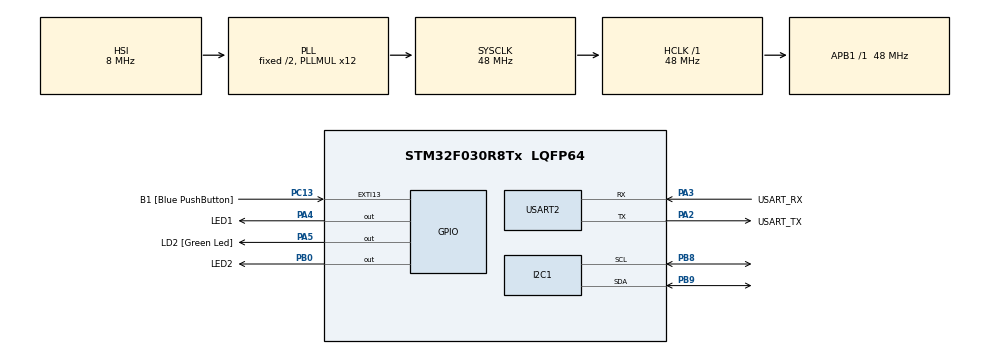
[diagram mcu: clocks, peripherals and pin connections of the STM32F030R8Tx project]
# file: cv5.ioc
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Dma.Request0=USART2_RX
Dma.USART2_RX.0.Direction=DMA_PERIPH_TO_MEMORY
Dma.USART2_RX.0.Instance=DMA1_Channel5
Dma.USART2_RX.0.MemDataAlignment=DMA_MDATAALIGN_BYTE
Dma.USART2_RX.0.MemInc=DMA_MINC_ENABLE
Dma.USART2_RX.0.Mode=DMA_CIRCULAR
Dma.USART2_RX.0.PeriphDataAlignment=DMA_PDATAALIGN_BYTE
Dma.USART2_RX.0.PeriphInc=DMA_PINC_DISABLE
Dma.USART2_RX.0.Priority=DMA_PRIORITY_LOW
I2C1.Timing=0x00201D2B
Mcu.Family=STM32F0
Mcu.Name=STM32F030R8Tx
Mcu.Package=LQFP64
NVIC.DMA1_Channel4_5_IRQn=true\:0\:0\:false\:false\:true\:false\:true\:true
PA13.GPIO_Label=TMS
PA13.Mode=Serial_Wire
PA13.Signal=SYS_SWDIO
PA14.GPIO_Label=TCK
PA14.Mode=Serial_Wire
PA14.Signal=SYS_SWCLK
PA2.GPIO_Label=USART_TX
PA2.GPIO_Mode=GPIO_MODE_AF_PP
PA2.GPIO_PuPd=GPIO_NOPULL
PA2.GPIO_Speed=GPIO_SPEED_FREQ_LOW
PA2.Mode=Asynchronous
PA2.Signal=USART2_TX
PA3.GPIO_Label=USART_RX
PA3.GPIO_Mode=GPIO_MODE_AF_PP
PA3.GPIO_PuPd=GPIO_NOPULL
PA3.GPIO_Speed=GPIO_SPEED_FREQ_LOW
PA3.Mode=Asynchronous
PA3.Signal=USART2_RX
PA4.GPIO_Label=LED1
PA4.Signal=GPIO_Output
PA5.GPIO_Label=LD2 [Green Led]
PA5.GPIO_Mode=GPIO_MODE_OUTPUT_PP
PA5.GPIO_PuPd=GPIO_NOPULL
PA5.GPIO_Speed=GPIO_SPEED_FREQ_LOW
PA5.Signal=GPIO_Output
PB0.GPIO_Label=LED2
PB0.Signal=GPIO_Output
PB8.Mode=I2C
PB8.Signal=I2C1_SCL
PB9.Mode=I2C
PB9.Signal=I2C1_SDA
PC13.GPIO_Label=B1 [Blue PushButton]
PC13.GPIO_ModeDefaultEXTI=GPIO_MODE_IT_FALLING
PC13.Signal=GPXTI13
PC14-OSC32_IN.Mode=LSE-External-Oscillator
PC14-OSC32_IN.Signal=RCC_OSC32_IN
PC15-OSC32_OUT.Mode=LSE-External-Oscillator
PC15-OSC32_OUT.Signal=RCC_OSC32_OUT
PF0-OSC_IN.Mode=HSE-External-Clock-Source
PF0-OSC_IN.Signal=RCC_OSC_IN
PF1-OSC_OUT.Signal=RCC_OSC_OUT
ProjectManager.HeapSize=0x200
ProjectManager.StackSize=0x400
ProjectManager.TargetToolchain=STM32CubeIDE
RCC.AHBFreq_Value=48000000
RCC.APB1Freq_Value=48000000
RCC.APB1TimFreq_Value=48000000
RCC.HCLKFreq_Value=48000000
RCC.PLLMUL=RCC_PLL_MUL12
RCC.SYSCLKFreq_VALUE=48000000
RCC.SYSCLKSource=RCC_SYSCLKSOURCE_PLLCLK
USART2.VirtualMode-Asynchronous=VM_ASYNC
board=NUCLEO-F030R8

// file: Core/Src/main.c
/* USER CODE BEGIN Header */
/**
  ******************************************************************************
  * @file           : main.c
  * @brief          : Main program body
  ******************************************************************************
  * @attention
  *
  * Copyright (c) 2024 STMicroelectronics.
  * All rights reserved.
  *
  * This software is licensed under terms that can be found in the LICENSE file
  * in the root directory of this software component.
  * If no LICENSE file comes with this software, it is provided AS-IS.
  *
  ******************************************************************************
  */
/* USER CODE END Header */
#include "main.h"

/* USER CODE BEGIN Includes */
#include <stdio.h>
#include <string.h>
/* USER CODE END Includes */

/* USER CODE BEGIN PD */
#define	RX_BUFFER_LEN	64
#define CMD_BUFFER_LEN 256
#define uart_rx_write_ptr (RX_BUFFER_LEN - hdma_usart2_rx.Instance->CNDTR)
/* USER CODE END PD */

I2C_HandleTypeDef hi2c1;

UART_HandleTypeDef huart2;
DMA_HandleTypeDef hdma_usart2_rx;

/* USER CODE BEGIN PV */
static uint8_t uart_rx_buf[RX_BUFFER_LEN];
static volatile uint16_t uart_rx_read_ptr = 0;
/* USER CODE END PV */

void SystemClock_Config(void);
static void MX_GPIO_Init(void);
static void MX_DMA_Init(void);
static void MX_USART2_UART_Init(void);
static void MX_I2C1_Init(void);
/* USER CODE BEGIN PFP */
static void uart_byte_available(uint8_t c);
static void uart_process_command(char *CMD);
static void HELLO();
static void LED1(uint8_t param);
static void LED2(uint8_t param);
static void STATUS();
/* USER CODE END PFP */

/* USER CODE BEGIN 0 */
int _write(int file, char const *buf, int n)
{
	/* stdout redirection to UART2 */
	HAL_UART_Transmit(&huart2, (uint8_t*)(buf), n, HAL_MAX_DELAY);
	return n;
}
/* USER CODE END 0 */

int main(void)
{

  /* MCU Configuration--------------------------------------------------------*/

  /* Reset of all peripherals, Initializes the Flash interface and the Systick. */
  HAL_Init();

  /* Configure the system clock */
  SystemClock_Config();

  /* Initialize all configured peripherals */
  MX_GPIO_Init();
  MX_DMA_Init();
  MX_USART2_UART_Init();
  MX_I2C1_Init();
  /* USER CODE BEGIN 2 */
  HAL_UART_Receive_DMA(&huart2, uart_rx_buf, RX_BUFFER_LEN);
  /* USER CODE END 2 */

  /* Infinite loop */
  /* USER CODE BEGIN WHILE */
  while (1)
  {
	//uint8_t c;
	//HAL_UART_Receive(&huart2, &c, 1, HAL_MAX_DELAY);
	//HAL_UART_Transmit(&huart2, &c, 1, HAL_MAX_DELAY);

	while (uart_rx_read_ptr != uart_rx_write_ptr) {
		uint8_t b = uart_rx_buf[uart_rx_read_ptr];
	// increase read pointer
		if (++uart_rx_read_ptr >= RX_BUFFER_LEN) uart_rx_read_ptr = 0;
	// process every received byte with the RX state machine
		uart_byte_available(b);
	}
    /* USER CODE END WHILE */

  }
}

void SystemClock_Config(void)
{
  RCC_OscInitTypeDef RCC_OscInitStruct = {0};
  RCC_ClkInitTypeDef RCC_ClkInitStruct = {0};
  RCC_PeriphCLKInitTypeDef PeriphClkInit = {0};

  /** Initializes the RCC Oscillators according to the specified parameters
  * in the RCC_OscInitTypeDef structure.
  */
  RCC_OscInitStruct.OscillatorType = RCC_OSCILLATORTYPE_HSI;
  RCC_OscInitStruct.HSIState = RCC_HSI_ON;
  RCC_OscInitStruct.HSICalibrationValue = RCC_HSICALIBRATION_DEFAULT;
  RCC_OscInitStruct.PLL.PLLState = RCC_PLL_ON;
  RCC_OscInitStruct.PLL.PLLSource = RCC_PLLSOURCE_HSI;
  RCC_OscInitStruct.PLL.PLLMUL = RCC_PLL_MUL12;
  RCC_OscInitStruct.PLL.PREDIV = RCC_PREDIV_DIV1;
  if (HAL_RCC_OscConfig(&RCC_OscInitStruct) != HAL_OK)
  {
    Error_Handler();
  }

  /** Initializes the CPU, AHB and APB buses clocks
  */
  RCC_ClkInitStruct.ClockType = RCC_CLOCKTYPE_HCLK|RCC_CLOCKTYPE_SYSCLK
                              |RCC_CLOCKTYPE_PCLK1;
  RCC_ClkInitStruct.SYSCLKSource = RCC_SYSCLKSOURCE_PLLCLK;
  RCC_ClkInitStruct.AHBCLKDivider = RCC_SYSCLK_DIV1;
  RCC_ClkInitStruct.APB1CLKDivider = RCC_HCLK_DIV1;

  if (HAL_RCC_ClockConfig(&RCC_ClkInitStruct, FLASH_LATENCY_1) != HAL_OK)
  {
    Error_Handler();
  }
  PeriphClkInit.PeriphClockSelection = RCC_PERIPHCLK_I2C1;
  PeriphClkInit.I2c1ClockSelection = RCC_I2C1CLKSOURCE_HSI;
  if (HAL_RCCEx_PeriphCLKConfig(&PeriphClkInit) != HAL_OK)
  {
    Error_Handler();
  }
}

static void MX_I2C1_Init(void)
{

  hi2c1.Instance = I2C1;
  hi2c1.Init.Timing = 0x00201D2B;
  hi2c1.Init.OwnAddress1 = 0;
  hi2c1.Init.AddressingMode = I2C_ADDRESSINGMODE_7BIT;
  hi2c1.Init.DualAddressMode = I2C_DUALADDRESS_DISABLE;
  hi2c1.Init.OwnAddress2 = 0;
  hi2c1.Init.OwnAddress2Masks = I2C_OA2_NOMASK;
  hi2c1.Init.GeneralCallMode = I2C_GENERALCALL_DISABLE;
  hi2c1.Init.NoStretchMode = I2C_NOSTRETCH_DISABLE;
  if (HAL_I2C_Init(&hi2c1) != HAL_OK)
  {
    Error_Handler();
  }

  /** Configure Analogue filter
  */
  if (HAL_I2CEx_ConfigAnalogFilter(&hi2c1, I2C_ANALOGFILTER_ENABLE) != HAL_OK)
  {
    Error_Handler();
  }

  /** Configure Digital filter
  */
  if (HAL_I2CEx_ConfigDigitalFilter(&hi2c1, 0) != HAL_OK)
  {
    Error_Handler();
  }

}

static void MX_USART2_UART_Init(void)
{

  huart2.Instance = USART2;
  huart2.Init.BaudRate = 38400;
  huart2.Init.WordLength = UART_WORDLENGTH_8B;
  huart2.Init.StopBits = UART_STOPBITS_1;
  huart2.Init.Parity = UART_PARITY_NONE;
  huart2.Init.Mode = UART_MODE_TX_RX;
  huart2.Init.HwFlowCtl = UART_HWCONTROL_NONE;
  huart2.Init.OverSampling = UART_OVERSAMPLING_16;
  huart2.Init.OneBitSampling = UART_ONE_BIT_SAMPLE_DISABLE;
  huart2.AdvancedInit.AdvFeatureInit = UART_ADVFEATURE_NO_INIT;
  if (HAL_UART_Init(&huart2) != HAL_OK)
  {
    Error_Handler();
  }

}

static void MX_DMA_Init(void)
{

  /* DMA controller clock enable */
  __HAL_RCC_DMA1_CLK_ENABLE();

  /* DMA interrupt init */
  /* DMA1_Channel4_5_IRQn interrupt configuration */
  HAL_NVIC_SetPriority(DMA1_Channel4_5_IRQn, 0, 0);
  HAL_NVIC_EnableIRQ(DMA1_Channel4_5_IRQn);

}

static void MX_GPIO_Init(void)
{
  GPIO_InitTypeDef GPIO_InitStruct = {0};

  /* GPIO Ports Clock Enable */
  __HAL_RCC_GPIOC_CLK_ENABLE();
  __HAL_RCC_GPIOF_CLK_ENABLE();
  __HAL_RCC_GPIOA_CLK_ENABLE();
  __HAL_RCC_GPIOB_CLK_ENABLE();

  /*Configure GPIO pin Output Level */
  HAL_GPIO_WritePin(GPIOA, LED1_Pin|LD2_Pin, GPIO_PIN_RESET);

  /*Configure GPIO pin Output Level */
  HAL_GPIO_WritePin(LED2_GPIO_Port, LED2_Pin, GPIO_PIN_RESET);

  /*Configure GPIO pin : B1_Pin */
  GPIO_InitStruct.Pin = B1_Pin;
  GPIO_InitStruct.Mode = GPIO_MODE_IT_FALLING;
  GPIO_InitStruct.Pull = GPIO_NOPULL;
  HAL_GPIO_Init(B1_GPIO_Port, &GPIO_InitStruct);

  /*Configure GPIO pins : LED1_Pin LD2_Pin */
  GPIO_InitStruct.Pin = LED1_Pin|LD2_Pin;
  GPIO_InitStruct.Mode = GPIO_MODE_OUTPUT_PP;
  GPIO_InitStruct.Pull = GPIO_NOPULL;
  GPIO_InitStruct.Speed = GPIO_SPEED_FREQ_LOW;
  HAL_GPIO_Init(GPIOA, &GPIO_InitStruct);

  /*Configure GPIO pin : LED2_Pin */
  GPIO_InitStruct.Pin = LED2_Pin;
  GPIO_InitStruct.Mode = GPIO_MODE_OUTPUT_PP;
  GPIO_InitStruct.Pull = GPIO_NOPULL;
  GPIO_InitStruct.Speed = GPIO_SPEED_FREQ_LOW;
  HAL_GPIO_Init(LED2_GPIO_Port, &GPIO_InitStruct);

}

/* USER CODE BEGIN 4 */
static void uart_byte_available(uint8_t c){
	static uint16_t cnt;
	static char data[CMD_BUFFER_LEN];
	if (cnt < CMD_BUFFER_LEN && c >= 32 && c <= 126) data[cnt++] = c;
	if ((c == '\n' || c == '\r') && cnt > 0) {
		data[cnt] = '\0';
		uart_process_command(data);
		cnt = 0;
	}
}

static void uart_process_command(char *cmd){
	printf("received: '%s'\n", cmd);
	char *token;
	token = strtok(cmd, " ");
	if (strcasecmp(token, "HELLO") == 0) {
		HELLO();

	} else if (strcasecmp(token, "LED1") == 0) {
		token = strtok(NULL, " ");
		if (strcasecmp(token, "ON") == 0) {
			LED1(1);
		} else if (strcasecmp(token, "OFF") == 0) {
			LED1(0);
		}

	} else if (strcasecmp(token, "LED2") == 0) {
		token = strtok(NULL, " ");
		if (strcasecmp(token, "ON") == 0) {
			LED2(1);
		} else if (strcasecmp(token, "OFF") == 0) {
			LED2(0);
		}
	} else if (strcasecmp(token, "STATUS") == 0){
		STATUS();
	}
}

/*
 * Implement the HELLO, LED1, LED2, and STATUS commands.
 * The HELLO command prints the welcome text.
 * The LED1 and LED2 commands turn the individual LEDs on or off according to the ON or OFF parameter.
 * The STATUS command returns the current status of both LEDs
*/
static void HELLO(){
	printf("Communication OK\n");
}

static void LED1(uint8_t param){
	HAL_GPIO_WritePin(LED1_GPIO_Port, LED1_Pin, param);
}

static void LED2(uint8_t param){
	HAL_GPIO_WritePin(LED2_GPIO_Port, LED2_Pin, param);
}

static void STATUS(){
	uint8_t led1 = HAL_GPIO_ReadPin(LED1_GPIO_Port, LED1_Pin);
	uint8_t led2 = HAL_GPIO_ReadPin(LED2_GPIO_Port, LED2_Pin);
	printf("LED 1 :  %i, LED 2 : %i \n", led1, led2);
}

/* USER CODE END 4 */

void Error_Handler(void)
{
  __disable_irq();
  while (1)
  {
  }
}
